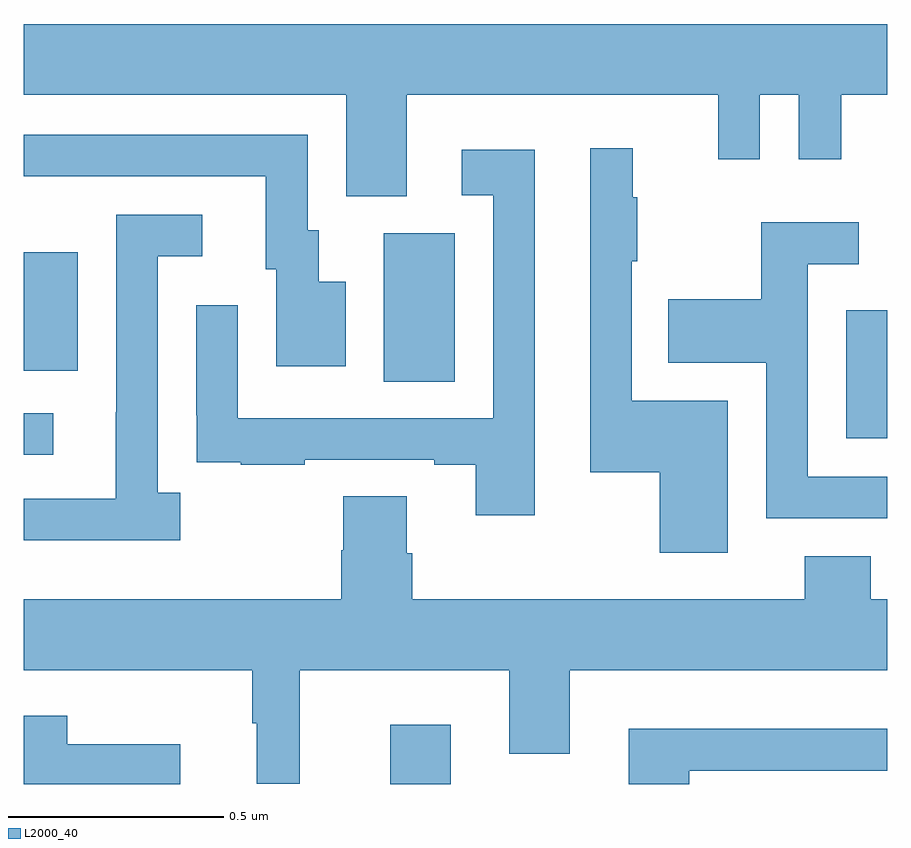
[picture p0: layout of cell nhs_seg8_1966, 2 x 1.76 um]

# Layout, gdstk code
import gdstk
lib = gdstk.Library(unit=1e-6, precision=1e-09)
def R(c, l, rs):  # rectangles x0, y0, x1, y1
    for r in rs: c.add(gdstk.rectangle(r[:2], r[2:], *l))
def P(c, l, *ps):  # polygons
    for p in ps: c.add(gdstk.Polygon(p, *l))
L2000_40 = (2000, 40)

nhs_seg8_1966 = lib.new_cell('nhs_seg8_1966')
R(nhs_seg8_1966, L2000_40, [(137.849,1118.9,137.989,1119.037), (137,1119.663,137.068,1119.759), (138.905,1119.701,139,1119.997), (137.834,1119.832,137.998,1120.176), (137,1119.857,137.125,1120.132)])
P(nhs_seg8_1966, L2000_40, [(137.887,1120.496),(138.608,1120.496),(138.608,1120.347),(138.705,1120.347),(138.705,1120.496),(138.795,1120.496),(138.795,1120.347),(138.893,1120.347),(138.893,1120.496),(139,1120.496),(139,1120.66),(137,1120.66),(137,1120.496),(137.747,1120.496),(137.747,1120.261),(137.887,1120.261)],
  [(137.746,1120.063),(137.683,1120.063),(137.683,1120.182),(137.658,1120.182),(137.658,1120.404),(137,1120.404),(137,1120.308),(137.561,1120.308),(137.561,1120.092),(137.585,1120.092),(137.585,1119.867),(137.746,1119.867)],
  [(138.631,1119.787),(138.408,1119.787),(138.408,1120.111),(138.421,1120.111),(138.421,1120.259),(138.41,1120.259),(138.41,1120.372),(138.312,1120.372),(138.312,1119.622),(138.473,1119.622),(138.473,1119.435),(138.631,1119.435)],
  [(138.183,1120.369),(138.015,1120.369),(138.015,1120.263),(138.087,1120.263),(138.087,1119.747),(137.496,1119.747),(137.496,1120.009),(137.4,1120.009),(137.4,1119.754),(137.401,1119.754),(137.401,1119.645),(137.503,1119.645),(137.503,1119.639),(137.651,1119.639),(137.651,1119.651),(137.951,1119.651),(137.951,1119.639),(138.047,1119.639),(138.047,1119.522),(138.183,1119.522)],
  [(137.362,1119.574),(137.31,1119.574),(137.31,1120.122),(137.413,1120.122),(137.413,1120.218),(137.214,1120.218),(137.214,1119.761),(137.213,1119.761),(137.213,1119.561),(137,1119.561),(137,1119.464),(137.362,1119.464)],
  [(139,1119.612),(138.816,1119.612),(138.816,1120.104),(138.934,1120.104),(138.934,1120.201),(138.708,1120.201),(138.708,1120.023),(138.493,1120.023),(138.493,1119.875),(138.72,1119.875),(138.72,1119.516),(139,1119.516)],
  [(137.639,1119.164),(138.125,1119.164),(138.125,1118.97),(138.265,1118.97),(138.265,1119.164),(139,1119.164),(139,1119.328),(138.962,1119.328),(138.962,1119.427),(138.809,1119.427),(138.809,1119.328),(137.9,1119.328),(137.9,1119.434),(137.887,1119.434),(137.887,1119.566),(137.74,1119.566),(137.74,1119.441),(137.735,1119.441),(137.735,1119.328),(137,1119.328),(137,1119.164),(137.529,1119.164),(137.529,1119.041),(137.54,1119.041),(137.54,1118.901),(137.639,1118.901)],
  [(137.362,1118.992),(137.101,1118.992),(137.101,1119.058),(137,1119.058),(137,1118.9),(137.362,1118.9)],
  [(138.541,1118.931),(139,1118.931),(139,1119.028),(138.401,1119.028),(138.401,1118.9),(138.541,1118.9)])

lib.write_gds('nhs_seg8_1966.gds')
